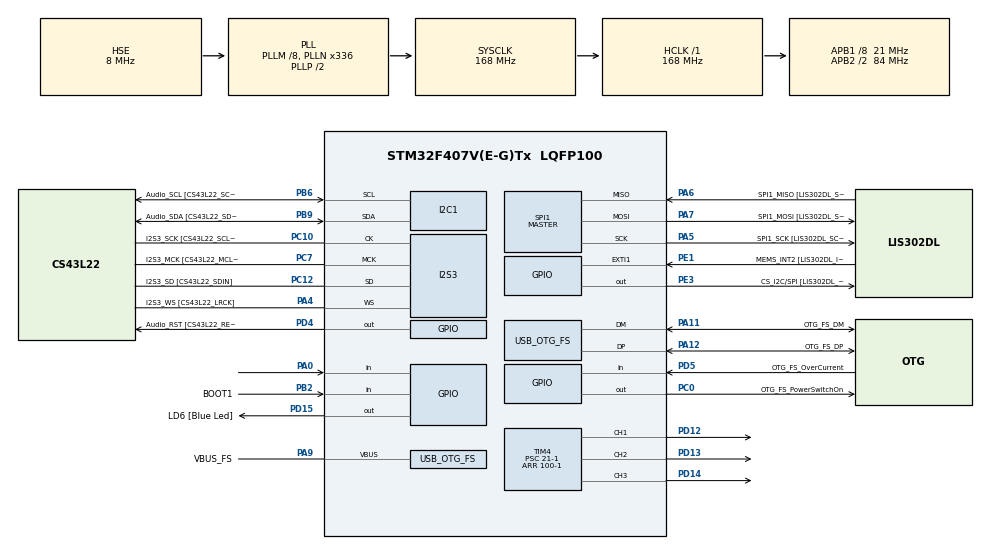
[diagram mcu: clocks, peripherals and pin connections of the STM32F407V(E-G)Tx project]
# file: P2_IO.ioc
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I2S3.AudioFreq-Half_Duplex_Master=I2S_AUDIOFREQ_96K
I2S3.ErrorAudioFreq=-2.34 %
I2S3.ErrorAudioFreq-Half_Duplex_Master=0.8 %
I2S3.FullDuplexMode=I2S_FULLDUPLEXMODE_DISABLE
I2S3.Instance=SPI$Index
I2S3.RealAudioFreq=93.75 KHz
I2S3.RealAudioFreq-Half_Duplex_Master=96.774 KHz
I2S3.VirtualMode=I2S_MODE_MASTER
Mcu.Family=STM32F4
Mcu.Name=STM32F407V(E-G)Tx
Mcu.Package=LQFP100
NVIC.OTG_FS_IRQn=true\:0\:0\:false\:false\:true\:true\:true\:true
NVIC.PriorityGroup=NVIC_PRIORITYGROUP_0
NVIC.TIM1_BRK_TIM9_IRQn=true\:0\:0\:false\:false\:true\:true\:true\:true
NVIC.TIM6_DAC_IRQn=true\:0\:0\:false\:false\:true\:true\:true\:true
NVIC.TIM7_IRQn=true\:0\:0\:false\:false\:true\:true\:true\:true
PA0-WKUP.Signal=GPIO_Input
PA10.GPIO_Label=OTG_FS_ID
PA10.GPIO_Mode=GPIO_MODE_AF_PP
PA10.GPIO_PuPd=GPIO_NOPULL
PA10.GPIO_Speed=GPIO_SPEED_FREQ_LOW
PA10.Signal=USB_OTG_FS_ID
PA11.GPIO_Label=OTG_FS_DM
PA11.GPIO_Mode=GPIO_MODE_AF_PP
PA11.GPIO_PuPd=GPIO_NOPULL
PA11.GPIO_Speed=GPIO_SPEED_FREQ_LOW
PA11.Mode=Host_Only
PA11.Signal=USB_OTG_FS_DM
PA12.GPIO_Label=OTG_FS_DP
PA12.GPIO_Mode=GPIO_MODE_AF_PP
PA12.GPIO_PuPd=GPIO_NOPULL
PA12.GPIO_Speed=GPIO_SPEED_FREQ_LOW
PA12.Mode=Host_Only
PA12.Signal=USB_OTG_FS_DP
PA13.GPIO_Label=SWDIO
PA13.Mode=Serial_Wire
PA13.Signal=SYS_JTMS-SWDIO
PA14.GPIO_Label=SWCLK
PA14.Mode=Serial_Wire
PA14.Signal=SYS_JTCK-SWCLK
PA4.GPIO_Label=I2S3_WS [CS43L22_LRCK]
PA4.GPIO_Mode=GPIO_MODE_AF_PP
PA4.GPIO_PuPd=GPIO_NOPULL
PA4.GPIO_Speed=GPIO_SPEED_FREQ_LOW
PA4.Mode=Half_Duplex_Master
PA4.Signal=I2S3_WS
PA5.GPIO_Label=SPI1_SCK [LIS302DL_SCL/SPC]
PA5.GPIO_Mode=GPIO_MODE_AF_PP
PA5.GPIO_PuPd=GPIO_NOPULL
PA5.GPIO_Speed=GPIO_SPEED_FREQ_LOW
PA5.Mode=Full_Duplex_Master
PA5.Signal=SPI1_SCK
PA6.GPIO_Label=SPI1_MISO [LIS302DL_SDO]
PA6.GPIO_Mode=GPIO_MODE_AF_PP
PA6.GPIO_PuPd=GPIO_NOPULL
PA6.GPIO_Speed=GPIO_SPEED_FREQ_LOW
PA6.Mode=Full_Duplex_Master
PA6.Signal=SPI1_MISO
PA7.GPIO_Label=SPI1_MOSI [LIS302DL_SDA/SDI/SDO]
PA7.GPIO_Mode=GPIO_MODE_AF_PP
PA7.GPIO_PuPd=GPIO_NOPULL
PA7.GPIO_Speed=GPIO_SPEED_FREQ_LOW
PA7.Mode=Full_Duplex_Master
PA7.Signal=SPI1_MOSI
PA9.GPIO_Label=VBUS_FS
PA9.GPIO_Mode=GPIO_MODE_INPUT
PA9.GPIO_PuPd=GPIO_NOPULL
PA9.Mode=Activate_VBUS
PA9.Signal=USB_OTG_FS_VBUS
PB10.GPIO_Label=CLK_IN [MP45DT02_CLK]
PB10.GPIO_Mode=GPIO_MODE_AF_PP
PB10.GPIO_PuPd=GPIO_NOPULL
PB10.GPIO_Speed=GPIO_SPEED_FREQ_LOW
PB10.Signal=I2S2_CK
PB2.GPIO_Label=BOOT1
PB2.GPIO_Mode=GPIO_MODE_INPUT
PB2.GPIO_PuPd=GPIO_NOPULL
PB2.Signal=GPIO_Input
PB3.GPIO_Label=SWO
PB3.Signal=SYS_JTDO-SWO
PB6.GPIO_Label=Audio_SCL [CS43L22_SCL]
PB6.GPIO_Mode=GPIO_MODE_AF_OD
PB6.GPIO_Pu=GPIO_PULLUP
PB6.GPIO_PuPd=GPIO_NOPULL
PB6.GPIO_Speed=GPIO_SPEED_FREQ_LOW
PB6.Mode=I2C
PB6.Signal=I2C1_SCL
PB9.GPIO_Label=Audio_SDA [CS43L22_SDA]
PB9.GPIO_Mode=GPIO_MODE_AF_OD
PB9.GPIO_Pu=GPIO_PULLUP
PB9.GPIO_PuPd=GPIO_NOPULL
PB9.GPIO_Speed=GPIO_SPEED_FREQ_LOW
PB9.Mode=I2C
PB9.Signal=I2C1_SDA
PC0.GPIO_Label=OTG_FS_PowerSwitchOn
PC0.GPIO_PuPd=GPIO_NOPULL
PC0.GPIO_Speed=GPIO_SPEED_FREQ_LOW
PC0.PinState=GPIO_PIN_SET
PC0.Signal=GPIO_Output
PC10.GPIO_Label=I2S3_SCK [CS43L22_SCLK]
PC10.GPIO_Mode=GPIO_MODE_AF_PP
PC10.GPIO_PuPd=GPIO_NOPULL
PC10.GPIO_Speed=GPIO_SPEED_FREQ_LOW
PC10.Mode=Half_Duplex_Master
PC10.Signal=I2S3_CK
PC12.GPIO_Label=I2S3_SD [CS43L22_SDIN]
PC12.GPIO_Mode=GPIO_MODE_AF_PP
PC12.GPIO_PuPd=GPIO_NOPULL
PC12.GPIO_Speed=GPIO_SPEED_FREQ_LOW
PC12.Mode=Half_Duplex_Master
PC12.Signal=I2S3_SD
PC14-OSC32_IN.GPIO_Label=PC14-OSC32_IN
PC14-OSC32_IN.Mode=LSE-External-Oscillator
PC14-OSC32_IN.Signal=RCC_OSC32_IN
PC15-OSC32_OUT.GPIO_Label=PC15-OSC32_OUT
PC15-OSC32_OUT.Mode=LSE-External-Oscillator
PC15-OSC32_OUT.Signal=RCC_OSC32_OUT
PC3.GPIO_Label=PDM_OUT [MP45DT02_DOUT]
PC3.GPIO_Mode=GPIO_MODE_AF_PP
PC3.GPIO_PuPd=GPIO_NOPULL
PC3.GPIO_Speed=GPIO_SPEED_FREQ_LOW
PC3.Signal=I2S2_SD
PC7.GPIO_Label=I2S3_MCK [CS43L22_MCLK]
PC7.GPIO_Mode=GPIO_MODE_AF_PP
PC7.GPIO_PuPd=GPIO_NOPULL
PC7.GPIO_Speed=GPIO_SPEED_FREQ_LOW
PC7.Mode=Master_Clock_Activated
PC7.Signal=I2S3_MCK
PD12.Signal=S_TIM4_CH1
PD13.Signal=S_TIM4_CH2
PD14.Signal=S_TIM4_CH3
PD15.GPIO_Label=LD6 [Blue Led]
PD15.GPIO_PuPd=GPIO_NOPULL
PD15.GPIO_Speed=GPIO_SPEED_FREQ_LOW
PD15.Signal=GPIO_Output
PD4.GPIO_Label=Audio_RST [CS43L22_RESET]
PD4.GPIO_PuPd=GPIO_NOPULL
PD4.GPIO_Speed=GPIO_SPEED_FREQ_LOW
PD4.Signal=GPIO_Output
PD5.GPIO_Label=OTG_FS_OverCurrent
PD5.GPIO_Mode=GPIO_MODE_INPUT
PD5.GPIO_PuPd=GPIO_NOPULL
PD5.Signal=GPIO_Input
PE1.GPIO_Label=MEMS_INT2 [LIS302DL_INT2]
PE1.GPIO_ModeDefaultEXTI=GPIO_MODE_EVT_RISING
PE1.GPIO_PuPd=GPIO_NOPULL
PE1.Signal=GPXTI1
PE3.GPIO_Label=CS_I2C/SPI [LIS302DL_CS_I2C/SPI]
PE3.GPIO_PuPd=GPIO_NOPULL
PE3.GPIO_Speed=GPIO_SPEED_FREQ_LOW
PE3.Signal=GPIO_Output
PH0-OSC_IN.GPIO_Label=PH0-OSC_IN
PH0-OSC_IN.Mode=HSE-External-Oscillator
PH0-OSC_IN.Signal=RCC_OSC_IN
PH1-OSC_OUT.GPIO_Label=PH1-OSC_OUT
PH1-OSC_OUT.Mode=HSE-External-Oscillator
PH1-OSC_OUT.Signal=RCC_OSC_OUT
ProjectManager.HeapSize=0x200
ProjectManager.StackSize=0x400
ProjectManager.TargetToolchain=STM32CubeIDE
RCC.48MHZClocksFreq_Value=48000000
RCC.AHBFreq_Value=168000000
RCC.APB1CLKDivider=RCC_HCLK_DIV8
RCC.APB1Freq_Value=21000000
RCC.APB1TimFreq_Value=42000000
RCC.APB2CLKDivider=RCC_HCLK_DIV2
RCC.APB2Freq_Value=84000000
RCC.APB2TimFreq_Value=168000000
RCC.CortexFreq_Value=168000000
RCC.HCLKFreq_Value=168000000
RCC.HSE_VALUE=8000000
RCC.HSI_VALUE=16000000
RCC.PLLM=8
RCC.PLLN=336
RCC.PLLQ=7
RCC.SYSCLKFreq_VALUE=168000000
RCC.SYSCLKSource=RCC_SYSCLKSOURCE_PLLCLK
RCC.VCOOutputFreq_Value=336000000
SH.S_TIM4_CH1.0=TIM4_CH1,PWM Generation1 CH1
SH.S_TIM4_CH2.0=TIM4_CH2,PWM Generation2 CH2
SH.S_TIM4_CH3.0=TIM4_CH3,PWM Generation3 CH3
SPI1.BaudRatePrescaler-Full_Duplex_Master=SPI_BAUDRATEPRESCALER_2
SPI1.CalculateBaudRate-Full_Duplex_Master=42.0 MBits/s
SPI1.Direction=SPI_DIRECTION_2LINES
SPI1.Mode=SPI_MODE_MASTER
SPI1.Mode-Full_Duplex_Master=SPI_MODE_MASTER
SPI1.VirtualType=VM_MASTER
TIM4.Channel-PWM\ Generation1\ CH1=TIM_CHANNEL_1
TIM4.Channel-PWM\ Generation2\ CH2=TIM_CHANNEL_2
TIM4.Channel-PWM\ Generation3\ CH3=TIM_CHANNEL_3
TIM4.Period=100-1
TIM4.Prescaler=21-1
TIM6.AutoReloadPreload=TIM_AUTORELOAD_PRELOAD_DISABLE
TIM6.Period=41999
TIM6.Prescaler=999
TIM7.Period=41999
TIM7.Prescaler=4
TIM9.Period=500-1
TIM9.Prescaler=42000-1
USB_HOST.BSP.number=1
USB_HOST.USBH_HandleTypeDef-CDC_FS=hUsbHostFS
USB_HOST.VirtualModeFS=Cdc
USB_HOST0.BSP.STBoard=false
USB_HOST0.BSP.api=Unknown
USB_HOST0.BSP.instance=PC0
USB_HOST0.BSP.ip=GPIO
USB_HOST0.BSP.mode=Output
USB_HOST0.BSP.name=Drive_VBUS_FS
USB_HOST0.BSP.solution=PC0
USB_OTG_FS.VirtualMode=Host_Only
USB_OTG_FS.phy_itface=HCD_PHY_EMBEDDED
VP_TIM4_VS_ClockSourceINT.Mode=Internal
VP_TIM6_VS_ClockSourceINT.Mode=Enable_Timer
VP_TIM7_VS_ClockSourceINT.Mode=Enable_Timer
VP_TIM9_VS_ClockSourceINT.Mode=Internal
VP_USB_HOST_VS_USB_HOST_CDC_FS.Mode=CDC_FS
board=STM32F407G-DISC1

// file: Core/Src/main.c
/* USER CODE BEGIN Header */
/**
  ******************************************************************************
  * @file           : main.c
  * @brief          : Main program body
  ******************************************************************************
  * @attention
  *
  * Copyright (c) 2022 STMicroelectronics.
  * All rights reserved.
  *
  * This software is licensed under terms that can be found in the LICENSE file
  * in the root directory of this software component.
  * If no LICENSE file comes with this software, it is provided AS-IS.
  *
  ******************************************************************************
  */
/* USER CODE END Header */
#include "main.h"
#include "i2c.h"
#include "i2s.h"
#include "spi.h"
#include "tim.h"
#include "usb_host.h"
#include "gpio.h"

/* USER CODE BEGIN Includes */
#include <stdlib.h>
#include "stm32f4_discovery_accelerometer.h"
#include "fsm.h"

/* USER CODE END Includes */

/* USER CODE BEGIN PD */

#define N_MUESTRAS 20
#define N_EJES 3

#define TH_HIGH 200
#define TH_LOW 100

#define FAULT 90
#define WARNING 60
#define NORMAL 30
#define SALIDA_OFF 0

#define TIMER_PWM 4
/* USER CODE END PD */

/* USER CODE BEGIN PV */

//Estados FSM ON-OFF
enum start_state {
	OFF,
	BOTON_PULSADO,
	ON
};

enum led_state {
	LED_OFF,
	LED_ON
};

//Estados FSM Lectura-Espera
enum lecture_state{
	STOP,
	MUESTREO,
	MAX_MIN,
	CONTADOR_MUESTRA,
	SALIDA,
	GRADO
};

enum ejes{
	x,
	y,
	z
};

uint32_t ciclos;

//entradas
static int16_t *sensor;

//variables
static int16_t **lectura, *max, *min;
static uint8_t muestra = 0, eje = 0;

volatile static uint8_t timer_boton = 0, timer_led = 0, timer_lectura = 0;

//variables compartidas
static uint8_t activado = 0;

//funciones de transicion
static int boton_presionado (fsm_t* this) { if (HAL_GPIO_ReadPin(GPIOA, GPIO_PIN_0) == 1) return 1; else return 0; }
static int desbloqueo_on (fsm_t* this) { if (timer_boton && activado && (HAL_GPIO_ReadPin(GPIOA, GPIO_PIN_0) == 0)) return 1; else return 0;}
static int desbloqueo_off (fsm_t* this) { if (timer_boton && !activado && (HAL_GPIO_ReadPin(GPIOA, GPIO_PIN_0) == 0)) return 1; else return 0; }

static int activado_on (fsm_t* this) { return activado; }
static int activado_off (fsm_t* this) { return !activado; }

static int led_actualizacion (fsm_t* this) { return timer_led; }

static int muestreo_listo (fsm_t* this)  {if ((muestra < N_MUESTRAS) && timer_lectura && activado ) return 1; else return 0;}
static int muestra_max (fsm_t* this)  {if ((muestra >= N_MUESTRAS) && activado ) return 1; else return 0;}
static int eje_no_max (fsm_t* this)  {if ((eje < N_EJES - 1) && activado ) return 1; else return 0;}
static int eje_max_fin (fsm_t* this)  {if ((eje >= N_EJES - 1) && activado ) return 1; else return 0;}
static int muestra_no_max (fsm_t* this)  {if ((muestra < N_MUESTRAS - 1) && activado ) return 1; else return 0;}
static int eje_no_listo (fsm_t* this)  {if ((muestra >= N_MUESTRAS - 1) && (eje < N_EJES - 1) && activado ) return 1; else return 0;}
static int eje_listo (fsm_t* this)  {if ((muestra >= N_MUESTRAS - 1) && (eje >= N_EJES - 1) && activado ) return 1; else return 0;}
static int max_muestra (fsm_t* this)  {if ((lectura[eje][muestra] >= max[eje]) && activado) return 1; else return 0;}
static int min_muestra (fsm_t* this)  {if ((lectura[eje][muestra] < min[eje]) && activado) return 1; else return 0;}
static int med_muestra (fsm_t* this)  {if ((lectura[eje][muestra] >= min[eje]) && (lectura[eje][muestra] < max[eje]) && activado) return 1; else return 0;}
static int out_fault (fsm_t* this)  {if (((max[eje] - min[eje]) >= TH_HIGH) && activado) return 1; else return 0;}
static int out_warning (fsm_t* this)  {if (((max[eje] - min[eje]) < TH_HIGH) && ((max[eje] - min[eje]) > TH_LOW) && activado) return 1; else return 0;}
static int out_normal (fsm_t* this)  {if (((max[eje] - min[eje]) <= TH_LOW) && activado) return 1; else return 0;}

/* USER CODE END PV */

void SystemClock_Config(void);
void MX_USB_HOST_Process(void);

/* USER CODE BEGIN 0 */

static void inicio_activado (fsm_t* this)
{
  activado = 1;
  __HAL_TIM_SET_COUNTER(&htim9, 0); //Reinicio a cero del temporizador del boton
  HAL_TIM_Base_Start_IT(&htim9); //Temporizador boton
}

static void inicio_actualizacion (fsm_t* this)
{
  HAL_TIM_Base_Stop_IT(&htim9); //Temporizador boton
  timer_boton = 0;
}

static void inicio_desactivado (fsm_t* this)
{
  activado = 0;
  __HAL_TIM_SET_COUNTER(&htim9, 0); //Reinicio a cero del temporizador del boton
  HAL_TIM_Base_Start_IT(&htim9); //Temporizador boton
}

static void led_activado (fsm_t* this)
{
  __HAL_TIM_SET_COUNTER(&htim6, 0); //Reinicio a cero del temporizador del LED
  HAL_TIM_Base_Start_IT(&htim6); //Temporizador LED
}

static void led_desactivado (fsm_t* this)
{
  HAL_TIM_Base_Stop_IT(&htim6); //Temporizador LED
  timer_led = 0;
  HAL_GPIO_WritePin(GPIOD, GPIO_PIN_15, 0);
}

static void led_toggle (fsm_t* this)
{
  HAL_GPIO_TogglePin(GPIOD, GPIO_PIN_15);
  timer_led = 0;
  __HAL_TIM_SET_COUNTER(&htim6, 0); //Reinicio a cero del temporizador del LED
}

static void desactivacion_muestreo (fsm_t* this)
{
  muestra = 0;
  eje = 0;

  __HAL_TIM_SET_COMPARE(&htim4, TIM_CHANNEL_1, SALIDA_OFF);
  __HAL_TIM_SET_COMPARE(&htim4, TIM_CHANNEL_2, SALIDA_OFF);
  __HAL_TIM_SET_COMPARE(&htim4, TIM_CHANNEL_3, SALIDA_OFF);
  HAL_TIM_Base_Stop_IT(&htim7);
  free(sensor);
  for (int i = 0; i < N_EJES; ++i) {
	  free(lectura[i]);
  }
  free(lectura);
  free(max);
  free(min);
  ciclos = KIN1_GetCycleCounter();
  KIN1_ResetCycleCounter();
  KIN1_EnableCycleCounter();
}

static void preparacion_muestreo (fsm_t* this)
{
  timer_lectura=0;
  __HAL_TIM_SET_COUNTER(&htim7,0); //Reinicio a cero del temporizador de muestreo
  HAL_TIM_Base_Start_IT(&htim7); //Temporizador para hacer las lecturas
  sensor = malloc(N_EJES * sizeof(int16_t));
  lectura = malloc(N_EJES * sizeof(int16_t*));
  for (int i = 0; i < N_EJES; ++i) {
      lectura[i] = malloc(N_MUESTRAS * sizeof(int16_t));
  }
  max = malloc(N_EJES * sizeof(int16_t));
  min = malloc(N_EJES * sizeof(int16_t));
}

static void muestreo_ejes (fsm_t* this)
{
  BSP_ACCELERO_GetXYZ(sensor);
  lectura[x][muestra] = sensor[x];
  lectura[y][muestra] = sensor[y];
  lectura[z][muestra] = sensor[z];
  muestra++;

  timer_lectura = 0;
  __HAL_TIM_SET_COUNTER(&htim9, 0); //Reinicio a cero del temporizador del boton
}

static void cambio_eje (fsm_t* this)
{
  eje++;
  muestra = 0;
}

static void fin_muestreo (fsm_t* this)
{
  eje = 0;
  muestra = 1;
  for(int i = x; i < N_EJES; i++){
	  max[i] = lectura[i][0];
	  min[i] = lectura[i][0];
  }
  HAL_TIM_Base_Stop_IT(&htim7); //Temporizador para hacer las lecturas
  __HAL_TIM_SET_COUNTER(&htim7,0); //Reinicio a cero del temporizador de lecturas
}

static void salida_max (fsm_t* this)
{
  max[eje] = lectura[eje][muestra];
}

static void salida_min (fsm_t* this)
{
  min[eje] = lectura[eje][muestra];
}

static void fin_lectura (fsm_t* this)
{
  eje = 0;
  muestra = 0;
  __HAL_TIM_SET_COUNTER(&htim7,0); //Reinicio a cero del temporizador de lecturas
  HAL_TIM_Base_Start_IT(&htim7); //Temporizador para hacer las lecturas
  ciclos = KIN1_GetCycleCounter();
  KIN1_ResetCycleCounter();
  KIN1_EnableCycleCounter();
}

static void cambio_muestra (fsm_t* this)
{
  muestra++;
}

static void preparacion_salida (fsm_t* this)
{
  eje = 0;
  muestra = 0;
}

static void salida_fault (fsm_t* this)
{
	__HAL_TIM_SET_COMPARE(&htim4, TIMER_PWM * eje, FAULT);
}

static void salida_warning (fsm_t* this)
{
	__HAL_TIM_SET_COMPARE(&htim4, TIMER_PWM * eje, WARNING);
}

static void salida_normal (fsm_t* this)
{
	__HAL_TIM_SET_COMPARE(&htim4, TIMER_PWM * eje, NORMAL);
}

static fsm_trans_t inicio[] = {
  { OFF, boton_presionado, BOTON_PULSADO, inicio_activado},
  { BOTON_PULSADO, desbloqueo_on, ON, inicio_actualizacion},
  { ON, boton_presionado, BOTON_PULSADO,  inicio_desactivado },
  { BOTON_PULSADO, desbloqueo_off, OFF, inicio_actualizacion },
  {-1, NULL, -1, NULL },
  };

static fsm_trans_t led[] = {
  { LED_OFF, activado_on, LED_ON, led_activado},
  { LED_ON, led_actualizacion, LED_ON, led_toggle},
  { LED_ON, activado_off, LED_OFF, led_desactivado},
  {-1, NULL, -1, NULL },
  };

static fsm_trans_t muestreo_acc[] = {
  { STOP, activado_on, MUESTREO, preparacion_muestreo},
  { MUESTREO, activado_off, STOP, desactivacion_muestreo},
  { MUESTREO, muestreo_listo, MUESTREO, muestreo_ejes},
  { MUESTREO, muestra_max, MAX_MIN, fin_muestreo},
  { MAX_MIN, activado_off, STOP, desactivacion_muestreo},
  { MAX_MIN, max_muestra, CONTADOR_MUESTRA, salida_max},
  { MAX_MIN, min_muestra, CONTADOR_MUESTRA, salida_min},
  { MAX_MIN, med_muestra, CONTADOR_MUESTRA, 0},
  { CONTADOR_MUESTRA, activado_off, STOP, desactivacion_muestreo},
  { CONTADOR_MUESTRA, muestra_no_max, MAX_MIN, cambio_muestra},
  { CONTADOR_MUESTRA, eje_no_listo, MAX_MIN, cambio_eje},
  { CONTADOR_MUESTRA, eje_listo, SALIDA, preparacion_salida},
  { SALIDA, activado_off, STOP, desactivacion_muestreo},
  { SALIDA, out_fault, GRADO, salida_fault},
  { SALIDA, out_warning, GRADO, salida_warning},
  { SALIDA, out_normal, GRADO, salida_normal},
  { GRADO, activado_off, STOP, desactivacion_muestreo},
  { GRADO, eje_no_max, SALIDA, cambio_eje},
  { GRADO, eje_max_fin, MUESTREO, fin_lectura},
  {-1, NULL, -1, NULL },
  };

/* USER CODE END 0 */

int main(void)
{

  /* MCU Configuration--------------------------------------------------------*/

  /* Reset of all peripherals, Initializes the Flash interface and the Systick. */
  HAL_Init();

  /* Configure the system clock */
  SystemClock_Config();

  /* Initialize all configured peripherals */
  MX_GPIO_Init();
  MX_I2C1_Init();
  MX_I2S3_Init();
  MX_SPI1_Init();
  MX_USB_HOST_Init();
  MX_TIM6_Init();
  MX_TIM7_Init();
  MX_TIM4_Init();
  MX_TIM9_Init();
  /* USER CODE BEGIN 2 */

  KIN1_InitCycleCounter();

  //Acelerómetro
  if(BSP_ACCELERO_Init() != HAL_OK){
	  Error_Handler();
  }

  //Temporizadores
  HAL_TIM_PWM_Start(&htim4, TIM_CHANNEL_1);
  HAL_TIM_PWM_Start(&htim4, TIM_CHANNEL_2);
  HAL_TIM_PWM_Start(&htim4, TIM_CHANNEL_3);

  //Creación de las FSM
  fsm_t* fsm_inicio = fsm_new(inicio);
  fsm_t* fsm_led = fsm_new(led);
  fsm_t* fsm_lectura = fsm_new(muestreo_acc);

  /* USER CODE END 2 */

  /* Infinite loop */
  while (1)
  {
    MX_USB_HOST_Process();

    /* USER CODE BEGIN 3 */
    fsm_fire(fsm_inicio);
    fsm_fire(fsm_led);
    fsm_fire(fsm_lectura);

    HAL_Delay(1);

  }

  /* USER CODE END 3 */
}

void SystemClock_Config(void)
{
  RCC_OscInitTypeDef RCC_OscInitStruct = {0};
  RCC_ClkInitTypeDef RCC_ClkInitStruct = {0};

  /** Configure the main internal regulator output voltage
  */
  __HAL_RCC_PWR_CLK_ENABLE();
  __HAL_PWR_VOLTAGESCALING_CONFIG(PWR_REGULATOR_VOLTAGE_SCALE1);

  /** Initializes the RCC Oscillators according to the specified parameters
  * in the RCC_OscInitTypeDef structure.
  */
  RCC_OscInitStruct.OscillatorType = RCC_OSCILLATORTYPE_HSE;
  RCC_OscInitStruct.HSEState = RCC_HSE_ON;
  RCC_OscInitStruct.PLL.PLLState = RCC_PLL_ON;
  RCC_OscInitStruct.PLL.PLLSource = RCC_PLLSOURCE_HSE;
  RCC_OscInitStruct.PLL.PLLM = 8;
  RCC_OscInitStruct.PLL.PLLN = 336;
  RCC_OscInitStruct.PLL.PLLP = RCC_PLLP_DIV2;
  RCC_OscInitStruct.PLL.PLLQ = 7;
  if (HAL_RCC_OscConfig(&RCC_OscInitStruct) != HAL_OK)
  {
    Error_Handler();
  }

  /** Initializes the CPU, AHB and APB buses clocks
  */
  RCC_ClkInitStruct.ClockType = RCC_CLOCKTYPE_HCLK|RCC_CLOCKTYPE_SYSCLK
                              |RCC_CLOCKTYPE_PCLK1|RCC_CLOCKTYPE_PCLK2;
  RCC_ClkInitStruct.SYSCLKSource = RCC_SYSCLKSOURCE_PLLCLK;
  RCC_ClkInitStruct.AHBCLKDivider = RCC_SYSCLK_DIV1;
  RCC_ClkInitStruct.APB1CLKDivider = RCC_HCLK_DIV8;
  RCC_ClkInitStruct.APB2CLKDivider = RCC_HCLK_DIV2;

  if (HAL_RCC_ClockConfig(&RCC_ClkInitStruct, FLASH_LATENCY_5) != HAL_OK)
  {
    Error_Handler();
  }
}

/* USER CODE BEGIN 4 */

void HAL_TIM_PeriodElapsedCallback(TIM_HandleTypeDef* htim)
{
	if(htim->Instance == TIM6)
		timer_led = 1;
	if(htim->Instance == TIM7)
		timer_lectura = 1;
	if(htim->Instance == TIM9)
		timer_boton = 1;
}

/* USER CODE END 4 */

void Error_Handler(void)
{
  __disable_irq();
  while (1)
  {
  }
}
